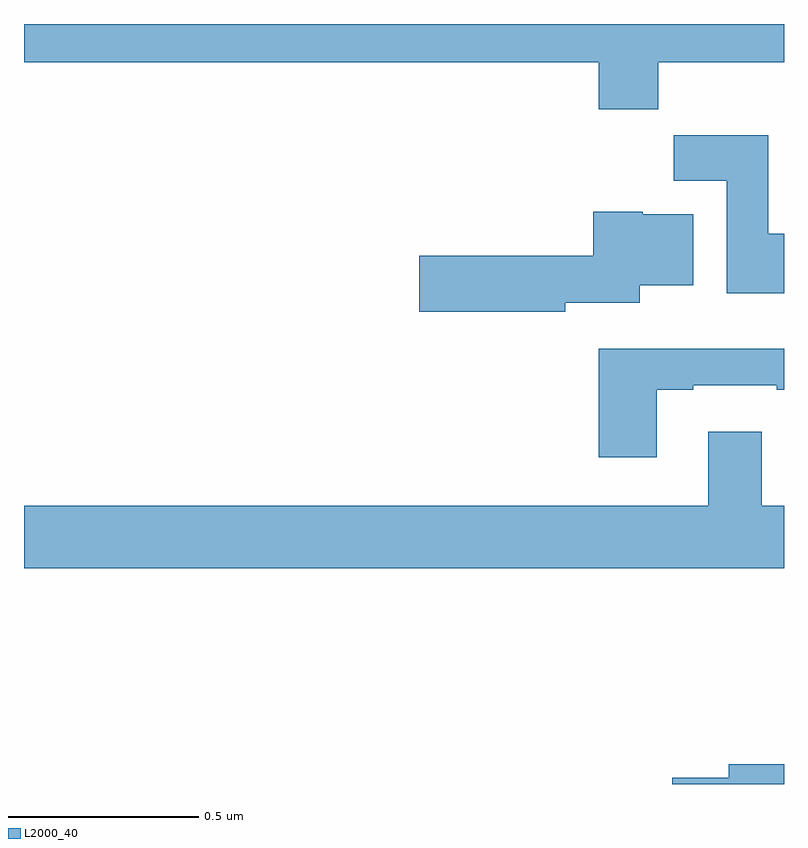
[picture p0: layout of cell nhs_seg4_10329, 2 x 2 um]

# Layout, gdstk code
import gdstk
lib = gdstk.Library(unit=1e-6, precision=1e-09)
def P(c, l, *ps):  # polygons
    for p in ps: c.add(gdstk.Polygon(p, *l))
L2000_40 = (2000, 40)

nhs_seg4_10329 = lib.new_cell('nhs_seg4_10329')
P(nhs_seg4_10329, L2000_40, [(239.669,816.8),(240,816.8),(240,816.9),(238,816.9),(238,816.8),(239.513,816.8),(239.513,816.676),(239.669,816.676)],
  [(240,816.348),(239.959,816.348),(239.959,816.607),(239.71,816.607),(239.71,816.488),(239.849,816.488),(239.849,816.192),(240,816.192)],
  [(239.424,816.167),(239.62,816.167),(239.62,816.212),(239.761,816.212),(239.761,816.4),(239.628,816.4),(239.628,816.406),(239.498,816.406),(239.498,816.29),(239.04,816.29),(239.04,816.143),(239.424,816.143)],
  [(239.665,815.937),(239.761,815.937),(239.761,815.949),(239.981,815.949),(239.981,815.937),(240,815.937),(240,816.046),(239.513,816.046),(239.513,815.76),(239.665,815.76)],
  [(240,815.632),(239.941,815.632),(239.941,815.827),(239.801,815.827),(239.801,815.632),(238,815.632),(238,815.468),(240,815.468)],
  [(240,814.952),(239.855,814.952),(239.855,814.916),(239.706,814.916),(239.706,814.9),(240,814.9)])

lib.write_gds('nhs_seg4_10329.gds')
